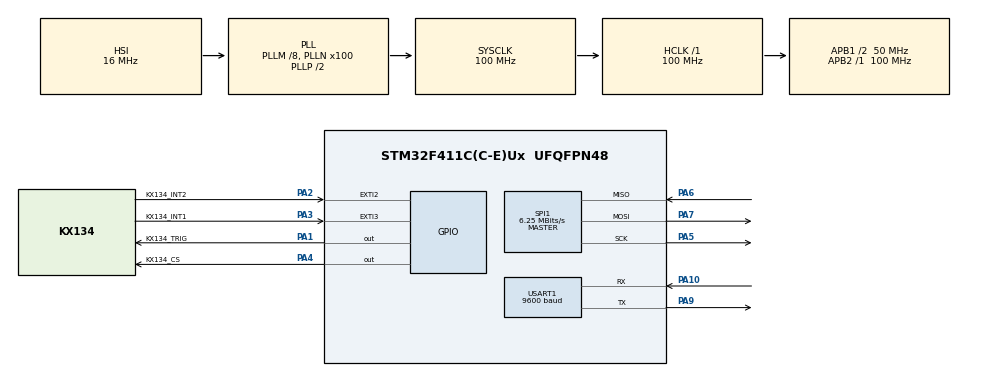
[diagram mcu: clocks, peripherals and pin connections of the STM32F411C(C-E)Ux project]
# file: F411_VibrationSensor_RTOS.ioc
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Dma.Request0=USART1_RX
Dma.Request1=USART1_TX
Dma.Request2=SPI1_RX
Dma.Request3=SPI1_TX
Dma.SPI1_RX.2.Direction=DMA_PERIPH_TO_MEMORY
Dma.SPI1_RX.2.FIFOMode=DMA_FIFOMODE_DISABLE
Dma.SPI1_RX.2.Instance=DMA2_Stream0
Dma.SPI1_RX.2.MemDataAlignment=DMA_MDATAALIGN_BYTE
Dma.SPI1_RX.2.MemInc=DMA_MINC_ENABLE
Dma.SPI1_RX.2.Mode=DMA_NORMAL
Dma.SPI1_RX.2.PeriphDataAlignment=DMA_PDATAALIGN_BYTE
Dma.SPI1_RX.2.PeriphInc=DMA_PINC_DISABLE
Dma.SPI1_RX.2.Priority=DMA_PRIORITY_LOW
Dma.SPI1_TX.3.Direction=DMA_MEMORY_TO_PERIPH
Dma.SPI1_TX.3.FIFOMode=DMA_FIFOMODE_DISABLE
Dma.SPI1_TX.3.Instance=DMA2_Stream3
Dma.SPI1_TX.3.MemDataAlignment=DMA_MDATAALIGN_BYTE
Dma.SPI1_TX.3.MemInc=DMA_MINC_ENABLE
Dma.SPI1_TX.3.Mode=DMA_NORMAL
Dma.SPI1_TX.3.PeriphDataAlignment=DMA_PDATAALIGN_BYTE
Dma.SPI1_TX.3.PeriphInc=DMA_PINC_DISABLE
Dma.SPI1_TX.3.Priority=DMA_PRIORITY_LOW
Dma.USART1_RX.0.Direction=DMA_PERIPH_TO_MEMORY
Dma.USART1_RX.0.FIFOMode=DMA_FIFOMODE_DISABLE
Dma.USART1_RX.0.Instance=DMA2_Stream2
Dma.USART1_RX.0.MemDataAlignment=DMA_MDATAALIGN_BYTE
Dma.USART1_RX.0.MemInc=DMA_MINC_ENABLE
Dma.USART1_RX.0.Mode=DMA_CIRCULAR
Dma.USART1_RX.0.PeriphDataAlignment=DMA_PDATAALIGN_BYTE
Dma.USART1_RX.0.PeriphInc=DMA_PINC_DISABLE
Dma.USART1_RX.0.Priority=DMA_PRIORITY_LOW
Dma.USART1_TX.1.Direction=DMA_MEMORY_TO_PERIPH
Dma.USART1_TX.1.FIFOMode=DMA_FIFOMODE_DISABLE
Dma.USART1_TX.1.Instance=DMA2_Stream7
Dma.USART1_TX.1.MemDataAlignment=DMA_MDATAALIGN_BYTE
Dma.USART1_TX.1.MemInc=DMA_MINC_ENABLE
Dma.USART1_TX.1.Mode=DMA_NORMAL
Dma.USART1_TX.1.PeriphDataAlignment=DMA_PDATAALIGN_BYTE
Dma.USART1_TX.1.PeriphInc=DMA_PINC_DISABLE
Dma.USART1_TX.1.Priority=DMA_PRIORITY_LOW
FREERTOS.Tasks01=defaultTask,24,128,StartDefaultTask,Default,NULL,Dynamic,NULL,NULL
FREERTOS.configCHECK_FOR_STACK_OVERFLOW=2
FREERTOS.configENABLE_FPU=1
FREERTOS.configTOTAL_HEAP_SIZE=20480
FREERTOS.configUSE_MALLOC_FAILED_HOOK=1
IWDG.Prescaler=IWDG_PRESCALER_128
Mcu.Family=STM32F4
Mcu.Name=STM32F411C(C-E)Ux
Mcu.Package=UFQFPN48
NVIC.DMA2_Stream0_IRQn=true\:6\:0\:true\:false\:true\:true\:false\:true\:true
NVIC.DMA2_Stream2_IRQn=true\:6\:0\:true\:false\:true\:true\:false\:true\:true
NVIC.DMA2_Stream3_IRQn=true\:6\:0\:true\:false\:true\:true\:false\:true\:true
NVIC.DMA2_Stream7_IRQn=true\:6\:0\:true\:false\:true\:true\:false\:true\:true
NVIC.EXTI2_IRQn=true\:6\:0\:true\:false\:true\:true\:true\:true\:true
NVIC.EXTI3_IRQn=true\:6\:0\:true\:false\:true\:true\:true\:true\:true
NVIC.PriorityGroup=NVIC_PRIORITYGROUP_4
NVIC.SPI1_IRQn=true\:6\:0\:true\:false\:true\:true\:true\:true\:true
NVIC.TIM1_UP_TIM10_IRQn=true\:15\:0\:false\:false\:true\:false\:false\:true\:true
NVIC.TimeBase=TIM1_UP_TIM10_IRQn
NVIC.TimeBaseIP=TIM1
NVIC.USART1_IRQn=true\:6\:0\:true\:false\:true\:true\:true\:true\:true
PA1.GPIO_Label=KX134_TRIG
PA1.Signal=GPIO_Output
PA10.Mode=Asynchronous
PA10.Signal=USART1_RX
PA13.Mode=Serial_Wire
PA13.Signal=SYS_JTMS-SWDIO
PA14.Mode=Serial_Wire
PA14.Signal=SYS_JTCK-SWCLK
PA2.GPIO_Label=KX134_INT2
PA2.Signal=GPXTI2
PA3.GPIO_Label=KX134_INT1
PA3.Signal=GPXTI3
PA4.GPIO_Label=KX134_CS
PA4.PinState=GPIO_PIN_SET
PA4.Signal=GPIO_Output
PA5.Mode=Full_Duplex_Master
PA5.Signal=SPI1_SCK
PA6.Mode=Full_Duplex_Master
PA6.Signal=SPI1_MISO
PA7.Mode=Full_Duplex_Master
PA7.Signal=SPI1_MOSI
PA9.Mode=Asynchronous
PA9.Signal=USART1_TX
PC14-OSC32_IN.Mode=LSE-External-Oscillator
PC14-OSC32_IN.Signal=RCC_OSC32_IN
PC15-OSC32_OUT.Mode=LSE-External-Oscillator
PC15-OSC32_OUT.Signal=RCC_OSC32_OUT
PH0\ -\ OSC_IN.Mode=HSE-External-Oscillator
PH0\ -\ OSC_IN.Signal=RCC_OSC_IN
PH1\ -\ OSC_OUT.Mode=HSE-External-Oscillator
PH1\ -\ OSC_OUT.Signal=RCC_OSC_OUT
ProjectManager.HeapSize=0x200
ProjectManager.StackSize=0x400
ProjectManager.TargetToolchain=MDK-ARM V5.32
RCC.48MHZClocksFreq_Value=50000000
RCC.AHBFreq_Value=100000000
RCC.APB1CLKDivider=RCC_HCLK_DIV2
RCC.APB1Freq_Value=50000000
RCC.APB1TimFreq_Value=100000000
RCC.APB2Freq_Value=100000000
RCC.APB2TimFreq_Value=100000000
RCC.CortexFreq_Value=100000000
RCC.HCLKFreq_Value=100000000
RCC.HSE_VALUE=25000000
RCC.HSI_VALUE=16000000
RCC.PLLM=8
RCC.PLLN=100
RCC.SYSCLKFreq_VALUE=100000000
RCC.SYSCLKSource=RCC_SYSCLKSOURCE_PLLCLK
RCC.VCOOutputFreq_Value=200000000
SPI1.BaudRatePrescaler=SPI_BAUDRATEPRESCALER_16
SPI1.CalculateBaudRate=6.25 MBits/s
SPI1.Direction=SPI_DIRECTION_2LINES
SPI1.Mode=SPI_MODE_MASTER
SPI1.VirtualType=VM_MASTER
USART1.BaudRate=9600
USART1.StopBits=STOPBITS_2
USART1.VirtualMode=VM_ASYNC
VP_FREERTOS_VS_CMSIS_V2.Mode=CMSIS_V2
VP_IWDG_VS_IWDG.Mode=IWDG_Activate
VP_SYS_VS_tim1.Mode=TIM1
board=custom

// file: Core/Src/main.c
/* USER CODE BEGIN Header */
/**
  ******************************************************************************
  * @file           : main.c
  * @brief          : Main program body
  ******************************************************************************
  * @attention
  *
  * Copyright (c) 2025 STMicroelectronics.
  * All rights reserved.
  *
  * This software is licensed under terms that can be found in the LICENSE file
  * in the root directory of this software component.
  * If no LICENSE file comes with this software, it is provided AS-IS.
  *
  ******************************************************************************
  */
/* USER CODE END Header */
#include "main.h"
#include "cmsis_os.h"
#include "dma.h"
#include "iwdg.h"
#include "spi.h"
#include "usart.h"
#include "gpio.h"

/* USER CODE BEGIN PV */

// 原始数据乒乓缓冲 (4096 * 3 * 2 * 2 = 48KB)
int16_t g_SensorRawBuffer[2][FFT_POINTS * AXIS_COUNT];
PingPong_Mgr_t g_PingPongMgr = {0, 1, 0};

uint8_t rx_dma_buf[UART_RX_BUF_SIZE];
uint8_t g_UartRxBuffer[UART_RX_BUF_SIZE];
volatile uint16_t g_UartRxLen = 0;//实际接收字节
extern SemaphoreHandle_t DmaCpltSem;//DMA信号�?

uint8_t LOCAL_DEVICE_ADDR = FLASH_CFG_DEFAULT_ADDR;
uint16_t g_cfg_freq_hz = FLASH_CFG_DEFAULT_FREQ;
volatile uint8_t g_ResetAcqReq = 0; // 请求重置采集

/* USER CODE END PV */

void SystemClock_Config(void);
void MX_FREERTOS_Init(void);

/* USER CODE BEGIN 0 */

void App_ConfigInit()
{
//    UID_Fill_BE_w0w1w2(uid_me);

		uint8_t  addr;
    uint16_t freq;
    uint16_t points;

    /*�? Flash 载入设备地址，不合法则为 0x00(广播地址) */
		Flash_ReadConfig(&addr, &freq, &points);
		if (addr == 0xFF) addr = 0x00;

		LOCAL_DEVICE_ADDR = addr;
    if(freq != 0xFFFF && freq != 0) {
        g_cfg_freq_hz = freq;
    }

    //KX134_SetODR(g_cfg_freq_hz);
}

void Uart1_RxStart(void)
{
    __HAL_UART_CLEAR_IDLEFLAG(&huart1);          // 清一次IDLE 残留
    __HAL_UART_ENABLE_IT(&huart1, UART_IT_IDLE);
    HAL_UART_Receive_DMA(&huart1, rx_dma_buf, UART_RX_BUF_SIZE);
}

/* USER CODE END 0 */

int main(void)
{

  /* USER CODE BEGIN 1 */
  SCB->VTOR = 0x0800C000;
	__enable_irq();
  /* USER CODE END 1 */

  /* MCU Configuration--------------------------------------------------------*/

  /* Reset of all peripherals, Initializes the Flash interface and the Systick. */
  HAL_Init();

  /* Configure the system clock */
  SystemClock_Config();

  /* Initialize all configured peripherals */
  MX_GPIO_Init();
  MX_DMA_Init();
  MX_USART1_UART_Init();
  MX_SPI1_Init();
  MX_IWDG_Init();
  /* USER CODE BEGIN 2 */
  App_ConfigInit();
  Uart1_RxStart();
  /* USER CODE END 2 */

  /* Init scheduler */
  osKernelInitialize();

  /* Call init function for freertos objects (in cmsis_os2.c) */
  MX_FREERTOS_Init();

  /* Start scheduler */
  osKernelStart();

  /* We should never get here as control is now taken by the scheduler */

  /* Infinite loop */
  while (1)
  {

  }
}

void SystemClock_Config(void)
{
  RCC_OscInitTypeDef RCC_OscInitStruct = {0};
  RCC_ClkInitTypeDef RCC_ClkInitStruct = {0};

  /** Configure the main internal regulator output voltage
  */
  __HAL_RCC_PWR_CLK_ENABLE();
  __HAL_PWR_VOLTAGESCALING_CONFIG(PWR_REGULATOR_VOLTAGE_SCALE1);

  /** Initializes the RCC Oscillators according to the specified parameters
  * in the RCC_OscInitTypeDef structure.
  */
  RCC_OscInitStruct.OscillatorType = RCC_OSCILLATORTYPE_HSI|RCC_OSCILLATORTYPE_LSI;
  RCC_OscInitStruct.HSIState = RCC_HSI_ON;
  RCC_OscInitStruct.HSICalibrationValue = RCC_HSICALIBRATION_DEFAULT;
  RCC_OscInitStruct.LSIState = RCC_LSI_ON;
  RCC_OscInitStruct.PLL.PLLState = RCC_PLL_ON;
  RCC_OscInitStruct.PLL.PLLSource = RCC_PLLSOURCE_HSI;
  RCC_OscInitStruct.PLL.PLLM = 8;
  RCC_OscInitStruct.PLL.PLLN = 100;
  RCC_OscInitStruct.PLL.PLLP = RCC_PLLP_DIV2;
  RCC_OscInitStruct.PLL.PLLQ = 4;
  if (HAL_RCC_OscConfig(&RCC_OscInitStruct) != HAL_OK)
  {
    Error_Handler();
  }

  /** Initializes the CPU, AHB and APB buses clocks
  */
  RCC_ClkInitStruct.ClockType = RCC_CLOCKTYPE_HCLK|RCC_CLOCKTYPE_SYSCLK
                              |RCC_CLOCKTYPE_PCLK1|RCC_CLOCKTYPE_PCLK2;
  RCC_ClkInitStruct.SYSCLKSource = RCC_SYSCLKSOURCE_PLLCLK;
  RCC_ClkInitStruct.AHBCLKDivider = RCC_SYSCLK_DIV1;
  RCC_ClkInitStruct.APB1CLKDivider = RCC_HCLK_DIV2;
  RCC_ClkInitStruct.APB2CLKDivider = RCC_HCLK_DIV1;

  if (HAL_RCC_ClockConfig(&RCC_ClkInitStruct, FLASH_LATENCY_3) != HAL_OK)
  {
    Error_Handler();
  }
}

/* USER CODE BEGIN 4 */

void HAL_GPIO_EXTI_Callback(uint16_t GPIO_Pin) {
    if (GPIO_Pin == KX134_INT1_Pin) {
        // 1. 唤醒 DataTask
        BaseType_t xHigherPriorityTaskWoken = pdFALSE;
        extern TaskHandle_t DataTaskHandle;
        vTaskNotifyGiveFromISR(DataTaskHandle, &xHigherPriorityTaskWoken);
        portYIELD_FROM_ISR(xHigherPriorityTaskWoken);
    }
}

void HAL_SPI_RxCpltCallback(SPI_HandleTypeDef *hspi)
{
    if (hspi->Instance == SPI1) {
        // 1. 拉高 CS
        KX134_CS_High();

        // 2. DataTask：DMA 搬完
        BaseType_t xHigherPriorityTaskWoken = pdFALSE;
        xSemaphoreGiveFromISR(DmaCpltSem, &xHigherPriorityTaskWoken);
        portYIELD_FROM_ISR(xHigherPriorityTaskWoken);
    }
}

void HAL_UART_TxCpltCallback(UART_HandleTypeDef *huart)
{
    if (huart->Instance == USART1)
    {
        g_tx_busy = 0;
    }
}

/* USER CODE END 4 */

void HAL_TIM_PeriodElapsedCallback(TIM_HandleTypeDef *htim)
{
  if (htim->Instance == TIM1) {
    HAL_IncTick();
  }
}

void Error_Handler(void)
{
  __disable_irq();
  while (1)
  {
  }
}

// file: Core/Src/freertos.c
/* USER CODE BEGIN Header */
/**
  ******************************************************************************
  * File Name          : freertos.c
  * Description        : Code for freertos applications
  ******************************************************************************
  * @attention
  *
  * Copyright (c) 2025 STMicroelectronics.
  * All rights reserved.
  *
  * This software is licensed under terms that can be found in the LICENSE file
  * in the root directory of this software component.
  * If no LICENSE file comes with this software, it is provided AS-IS.
  *
  ******************************************************************************
  */
/* USER CODE END Header */

#include "FreeRTOS.h"
#include "task.h"
#include "main.h"
#include "cmsis_os.h"

/* USER CODE BEGIN Includes */
#include "KX134.h"
/* USER CODE END Includes */

/* USER CODE BEGIN PTD */

TaskHandle_t DataTaskHandle;
TaskHandle_t AlgoTaskHandle;
TaskHandle_t CommTaskHandle;

extern IWDG_HandleTypeDef hiwdg;

/* USER CODE END PTD */

/* USER CODE BEGIN Variables */
SemaphoreHandle_t DmaCpltSem;
/* USER CODE END Variables */
/* Definitions for defaultTask */
osThreadId_t defaultTaskHandle;
const osThreadAttr_t defaultTask_attributes = {
  .name = "defaultTask",
  .stack_size = 128 * 4,
  .priority = (osPriority_t) osPriorityIdle,
};

/* USER CODE BEGIN FunctionPrototypes */

void DataTask_Entry(void *argument);
void AlgoTask_Entry(void *argument);
void CommTask_Entry(void *argument);

/* USER CODE END FunctionPrototypes */

void StartDefaultTask(void *argument);

void MX_FREERTOS_Init(void); /* (MISRA C 2004 rule 8.1) */

/* Hook prototypes */
void vApplicationStackOverflowHook(xTaskHandle xTask, signed char *pcTaskName);
void vApplicationMallocFailedHook(void);

/* USER CODE BEGIN 4 */
void vApplicationStackOverflowHook(xTaskHandle xTask, signed char *pcTaskName)
{
   /* Run time stack overflow checking is performed if
   configCHECK_FOR_STACK_OVERFLOW is defined to 1 or 2. This hook function is
   called if a stack overflow is detected. */
}
/* USER CODE END 4 */

/* USER CODE BEGIN 5 */
void vApplicationMallocFailedHook(void)
{
   /* vApplicationMallocFailedHook() will only be called if
   configUSE_MALLOC_FAILED_HOOK is set to 1 in FreeRTOSConfig.h. It is a hook
   function that will get called if a call to pvPortMalloc() fails.
   pvPortMalloc() is called internally by the kernel whenever a task, queue,
   timer or semaphore is created. It is also called by various parts of the
   demo application. If heap_1.c or heap_2.c are used, then the size of the
   heap available to pvPortMalloc() is defined by configTOTAL_HEAP_SIZE in
   FreeRTOSConfig.h, and the xPortGetFreeHeapSize() API function can be used
   to query the size of free heap space that remains (although it does not
   provide information on how the remaining heap might be fragmented). */
}
/* USER CODE END 5 */

void MX_FREERTOS_Init(void) {

  /* Create the thread(s) */
  /* creation of defaultTask */
  defaultTaskHandle = osThreadNew(StartDefaultTask, NULL, &defaultTask_attributes);

}

void StartDefaultTask(void *argument)
{
  /* USER CODE BEGIN StartDefaultTask */
  xTaskCreate(DataTask_Entry, "DataTask", 512, NULL, osPriorityHigh, &DataTaskHandle);
  xTaskCreate(AlgoTask_Entry, "AlgoTask", 2048, NULL, osPriorityAboveNormal, &AlgoTaskHandle);
  xTaskCreate(CommTask_Entry, "CommTask", 512, NULL, osPriorityNormal, &CommTaskHandle);
  DmaCpltSem = xSemaphoreCreateBinary();
  //vTaskDelete(NULL);
  /* Infinite loop */
  for(;;)
  {
		HAL_IWDG_Refresh(&hiwdg);
    osDelay(10);
  }
  /* USER CODE END StartDefaultTask */
}

/* USER CODE BEGIN Application */

void DataTask_Entry(void *argument)
{
  if (KX134_Init()) {
    KX134_SetODR(g_cfg_freq_hz);
  }
	memset(g_SensorRawBuffer, 0, sizeof(g_SensorRawBuffer));
//	uint8_t check_cntl2 = KX134_ReadReg(0x1C);
  uint16_t buffer_offset = 0;// 记录当前填到 Buffer 的哪个位置了 (0 ~ 4096)
    for(;;) {
      ulTaskNotifyTake(pdTRUE, portMAX_DELAY);// Notification 等待EXTI 中断
      if (g_ResetAcqReq == 1) {
            // 收到重置命令�?
            buffer_offset = 0;              // 指针归零，丢弃这�?包数�?
            g_ResetAcqReq = 0;              // 清除标志
            memset(g_SensorRawBuffer[g_PingPongMgr.write_index], 0, sizeof(g_SensorRawBuffer[0]));
            continue;
        }
      uint8_t *p_target = (uint8_t*)&g_SensorRawBuffer[g_PingPongMgr.write_index][0];
      p_target += (buffer_offset * 6); // 偏移多少字节

      KX134_Read_FIFO_DMA(p_target);
      if (xSemaphoreTake(DmaCpltSem, 10) == pdTRUE)
      {
        buffer_offset += FIFO_WATERMARK;
        if (buffer_offset >= FFT_POINTS)
        {
          g_PingPongMgr.read_index = g_PingPongMgr.write_index;
          g_PingPongMgr.write_index = !g_PingPongMgr.write_index;
          buffer_offset = 0;
          xTaskNotifyGive(AlgoTaskHandle);// 通知 AlgoTask
        }
      }
      else {
            KX134_CS_High();// 超时处理：如�??? SPI DMA 卡死了，记得在这里拉�??? CS 复位 SPI
        }
    }

		//debug
//		uint8_t check_cntl1 = KX134_ReadReg(KX134_CNTL1);
//		// 预期�?0xD8 (1101 1000) -> 16-bit, +/-64g, Operating

//		// 定义临时变量用于 Watch 窗口观察
//		volatile uint8_t raw_xl, raw_xh, raw_yl, raw_yh, raw_zl, raw_zh;
//		volatile int16_t acc_z_raw;
//		volatile float acc_z_g;

//		for(;;) {
//				// 3. 直接读取 Z 轴输出寄存器 (绕过 FIFO/DMA)
//				// ZOUT_L = 0x0A, ZOUT_H = 0x0B
//				raw_zl = KX134_ReadReg(0x0A);
//				raw_zh = KX134_ReadReg(0x0B);
//
//				// 合并数据
//				acc_z_raw = (int16_t)((raw_zh << 8) | raw_zl);
//
//				// 转换物理�? (+/- 64g 量程)
//				acc_z_g = (float)acc_z_raw * KX134_SENSITIVITY;

//				// 延时�?下，方便调试器刷�?
//				osDelay(100);
//
//				// 观察 check_cntl1, raw_zh, acc_z_g 的�??
//				__NOP();
//		}

}

void AlgoTask_Entry(void *argument)
{
  Calc_Init();
    for(;;) {
      ulTaskNotifyTake(pdTRUE, portMAX_DELAY);
      uint8_t process_idx = g_PingPongMgr.read_index;
      int16_t *pSource = &g_SensorRawBuffer[process_idx][0];
      Process_Data(pSource);
    }
}

void CommTask_Entry(void *argument)
{
    for(;;) {
        ulTaskNotifyTake(pdTRUE, portMAX_DELAY);
        Protocol_HandleRxFrame(g_UartRxBuffer, g_UartRxLen, LOCAL_DEVICE_ADDR);
    }
}
/* USER CODE END Application */
